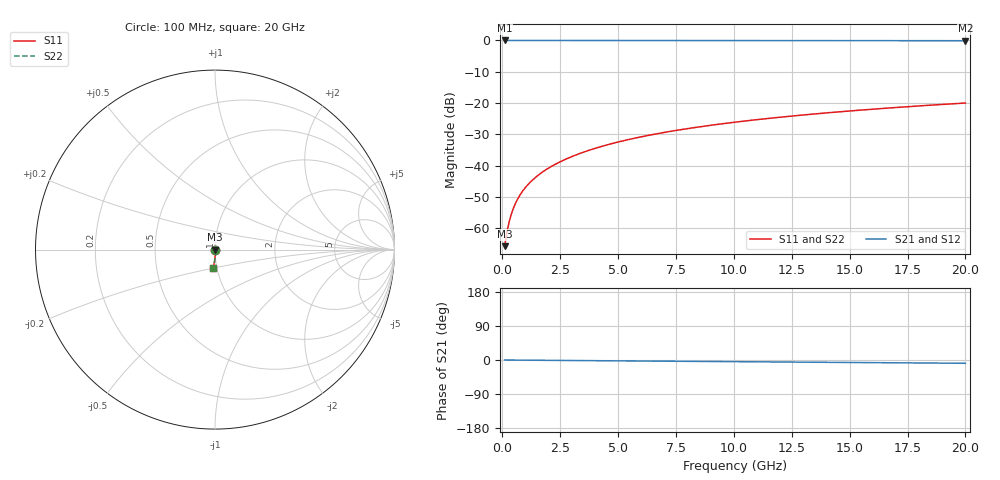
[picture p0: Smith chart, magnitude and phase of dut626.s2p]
! Touchstone file exported from HFSS 2026.1.0
!  File:  C:/ffzhzh/LocalFiles/Ansys_Project_Files/temp_train_BSMRDL_626_1783016507_55676.aedt
!  Generated:  02:23:00 AM Jul  3, 2026
!  Design:  BSMRDL
!  Project:  temp_train_BSMRDL_626_1783016507_55676
! Variables:
!  h_bsmrdl = 5.95um
!  h_ox = 20um
!  h_rdl = 5um
!  h_sub = 80um
!  h_tmrdl = 5um
!  h_tsv = 80um
!  h_via = 3um
!  l_bsmrdl = 104.49um
!  l_sub = 504.49um
!  l_tmrdl = 200um
!  m_sub = 200um
!  pitch = 27.27um
!  r_tsv = 6um
!  s_tmrdl = 10um
!  w_bsmrdl = 26.24um
!  w_sub = 500um
!  w_tmrdl = 12um
!  x_tsv_center1 = 206um
!  x_tsv_center2 = 336.73um
!  x_tsv_center3 = 548.73um
!  x_tsv_center4 = 679.46um
!  x_tsv_center5 = 891.46um
!  x_tsv_center6 = 1022.19um
# GHz S MA R 50.000000
! Terminal data exported
! Port[1] = BSM_RDL1_1_T1
! Port[2] = BSM_RDL1_1_T2
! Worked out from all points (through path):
!   200 points, 100 MHz to 20 GHz, reference 50 ohm
!   highest |S21| = 0.00 dB at 100 MHz (marker M1); lowest = -0.1 dB at 20 GHz (marker M2)
!   group delay of S21, straight-line fit = 1.2 ps
!   lowest |S11| = -65.7 dB at 100 MHz (marker M3), VSWR 1.00, Z = 50 - j0.031 ohm
!   |S11| at or under -10 dB: start of sweep to end of sweep
!   |S22| runs from -65.7 to -20.0 dB; largest |S21 - S12| = 6.4e-15
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0.1  0.0005192 -36.6  0.9996 -0.1  0.9996 -0.1  0.0005192 -36.6
! Gamma 0 0 0 0
! Port Impedance 50 0 50 0
0.2  0.0008633 -53.0  0.9995 -0.1  0.9995 -0.1  0.0008633 -53.0
0.3  0.001283 -61.6  0.9994 -0.2  0.9994 -0.2  0.001283 -61.6
0.4  0.001731 -66.9  0.9993 -0.2  0.9993 -0.2  0.001731 -66.9
0.5  0.002187 -70.6  0.9993 -0.2  0.9993 -0.2  0.002187 -70.6
0.6  0.002647 -73.3  0.9992 -0.3  0.9992 -0.3  0.002647 -73.3
0.7  0.003108 -75.3  0.9992 -0.3  0.9992 -0.3  0.003108 -75.3
0.8  0.003569 -76.8  0.9992 -0.4  0.9992 -0.4  0.003569 -76.8
1  0.004492 -79.0  0.9991 -0.5  0.9991 -0.5  0.004492 -79.0
1.4  0.006348 -81.5  0.999 -0.7  0.999 -0.7  0.006348 -81.5
1.7  0.007751 -82.6  0.9989 -0.8  0.9989 -0.8  0.007751 -82.6
2  0.009166 -83.4  0.9988 -0.9  0.9988 -0.9  0.009166 -83.4
2.7  0.01252 -84.5  0.9985 -1.2  0.9985 -1.2  0.01252 -84.5
3.5  0.01642 -85.4  0.9981 -1.6  0.9981 -1.6  0.01642 -85.4
4.2  0.01989 -86.1  0.9978 -1.9  0.9978 -1.9  0.01989 -86.1
5  0.0239 -86.8  0.9974 -2.3  0.9974 -2.3  0.0239 -86.8
6.8  0.033 -88.1  0.9966 -3.0  0.9966 -3.0  0.033 -88.1
8.3  0.04063 -89.2  0.996 -3.7  0.996 -3.7  0.04063 -89.2
10.1  0.04981 -90.3  0.9951 -4.4  0.9951 -4.4  0.04981 -90.3
13.4  0.06665 -92.2  0.9935 -5.9  0.9935 -5.9  0.06665 -92.2
16.7  0.08347 -93.9  0.9916 -7.3  0.9916 -7.3  0.08347 -93.9
20  0.1002 -95.6  0.9895 -8.7  0.9895 -8.7  0.1002 -95.6
